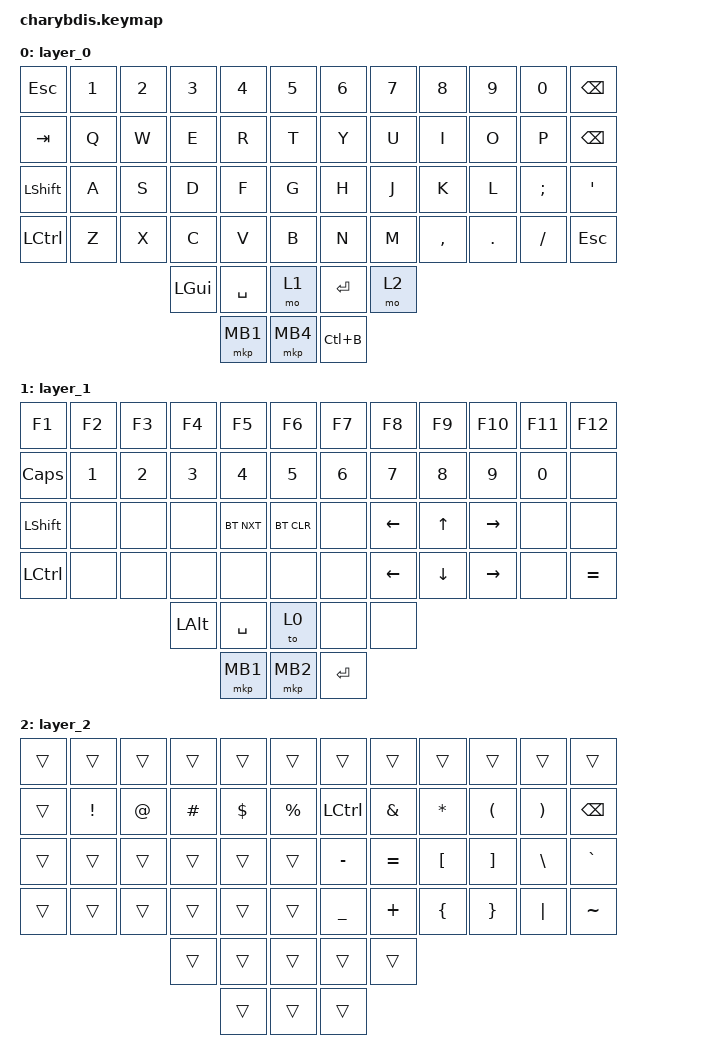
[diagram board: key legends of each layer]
#include <behaviors.dtsi>
#include <dt-bindings/zmk/bt.h>
#include <dt-bindings/zmk/keys.h>
#include <dt-bindings/zmk/pointing.h>

&lt {
    tapping-term-ms = <200>;
    flavor = "balanced";
    quick-tap-ms = <150>;
};

/ {
    keymap {
        compatible = "zmk,keymap";

        layer_0 {
            bindings = <
&kp ESC         &kp N1  &kp N2  &kp N3    &kp N4     &kp N5      &kp N6     &kp N7  &kp N8     &kp N9   &kp N0    &kp BACKSPACE
&kp TAB         &kp Q   &kp W   &kp E     &kp R      &kp T       &kp Y      &kp U   &kp I      &kp O    &kp P     &kp BSPC
&kp LEFT_SHIFT  &kp A   &kp S   &kp D     &kp F      &kp G       &kp H      &kp J   &kp K      &kp L    &kp SEMI  &kp SQT
&kp LCTRL       &kp Z   &kp X   &kp C     &kp V      &kp B       &kp N      &kp M   &kp COMMA  &kp DOT  &kp FSLH  &kp ESC
                                &kp LGUI  &kp SPACE  &mo 1       &kp ENTER  &mo 2
                                          &mkp MB1   &mkp MB4    &kp LC(B)
            >;
        };

        layer_1 {
            bindings = <
&kp F1          &kp F2        &kp F3        &kp F4        &kp F5        &kp F6        &kp F7        &kp F8    &kp F9        &kp F10    &kp F11  &kp F12
&kp CAPS        &kp NUMBER_1  &kp NUMBER_2  &kp NUMBER_3  &kp NUMBER_4  &kp N5        &kp NUMBER_6  &kp N7    &kp N8        &kp N9     &kp N0   &none
&kp LEFT_SHIFT  &none         &none         &none         &bt BT_NXT    &bt BT_CLR    &none         &kp LEFT  &kp UP_ARROW  &kp RIGHT  &none    &none
&kp LCTRL       &none         &none         &none         &none         &none         &none         &kp LEFT  &kp DOWN      &kp RIGHT  &none    &kp EQUAL
                                            &kp LEFT_ALT  &kp SPACE     &to 0         &none         &none
                                                          &mkp MB1      &mkp MB2      &kp ENTER
            >;
        };

        layer_2 {
            bindings = <
&trans  &trans           &trans       &trans    &trans      &trans         &trans          &trans         &trans            &trans                &trans                 &trans
&trans  &kp EXCLAMATION  &kp AT_SIGN  &kp HASH  &kp DOLLAR  &kp PERCENT    &kp LCTRL       &kp AMPERSAND  &kp ASTERISK      &kp LEFT_PARENTHESIS  &kp RIGHT_PARENTHESIS  &kp BACKSPACE
&trans  &trans           &trans       &trans    &trans      &trans         &kp MINUS       &kp EQUAL      &kp LEFT_BRACKET  &kp RIGHT_BRACKET     &kp BACKSLASH          &kp GRAVE
&trans  &trans           &trans       &trans    &trans      &trans         &kp UNDERSCORE  &kp PLUS       &kp LEFT_BRACE    &kp RIGHT_BRACE       &kp PIPE               &kp TILDE
                                      &trans    &trans      &trans         &trans          &trans
                                                &trans      &trans         &trans
            >;
        };

        /* layer_2 {
            bindings = <
&none  &none   &none    &none   &none         &none         &kp N1         &none         &none     &none  &none   &to 0
&none  &none   &none    &none   &none         &none         &none         &none          &rgb_ug RGB_BRD &rgb_ug RGB_BRI  &rgb_ug RGB_EFF   &rgb_ug RGB_TOG
&none  &none   &none    &none   &none         &none         &none         &mkp LCLK     &mkp RCLK  &none  &none   &none
&none  &none   &none    &none   &bt BT_NXT  &bt BT_CLR    &none         &none         &none     &none  &none   &none
                                   &none         &none         &none         &none         &none
                                                 &none         &none         &none
            >;
       
            
        };

       Mouse {
            bindings = <
&none        &none         &none         &none         &none      &none         &none       &none      &none         &none         &none         &none
&none        &bt BT_SEL 0  &bt BT_SEL 1  &bt BT_SEL 3  &none      &bt BT_CLR    &bt BT_CLR  &none      &bt BT_SEL 2  &bt BT_SEL 1  &bt BT_SEL 0  &none
&none        &trans        &trans        &mkp MCLK     &trans     &none         &none       &trans     &mkp MCLK     &trans        &trans        &none
&bootloader  &trans        &mkp RCLK     &mo 4         &mkp LCLK  &mo 5         &mo 5       &mkp LCLK  &mo 4         &mkp RCLK     &trans        &bootloader
                                         &mo 5         &mkp LCLK  &mkp RCLK     &mkp RCLK   &mkp LCLK
                                                       &none      &trans        &trans
            >;

            
        };

        layer_4 {
            bindings = <
&trans  &trans  &trans     &trans     &trans     &trans       &trans     &trans     &trans     &trans     &trans  &trans
&trans  &trans  &trans     &trans     &trans     &trans       &trans     &trans     &trans     &trans     &trans  &trans
&trans  &trans  &trans     &mkp MCLK  &trans     &trans       &trans     &trans     &mkp MCLK  &trans     &trans  &trans
&trans  &trans  &mkp RCLK  &trans     &mkp LCLK  &trans       &trans     &mkp LCLK  &trans     &mkp RCLK  &trans  &trans
                           &trans     &mkp LCLK  &mkp RCLK    &mkp RCLK  &mkp LCLK
                                      &trans     &trans       &trans
            >;
                
                
               
        };

        layer_5 {
            bindings = <
&trans  &trans  &trans     &trans     &trans     &trans       &trans     &trans     &trans     &trans     &trans  &trans
&trans  &trans  &trans     &trans     &trans     &trans       &trans     &trans     &trans     &trans     &trans  &trans
&trans  &trans  &trans     &mkp MCLK  &trans     &trans       &trans     &trans     &mkp MCLK  &trans     &trans  &trans
&trans  &trans  &mkp RCLK  &trans     &mkp LCLK  &trans       &trans     &mkp LCLK  &trans     &mkp RCLK  &trans  &trans
                           &trans     &mkp LCLK  &mkp RCLK    &mkp RCLK  &mkp LCLK
                                      &trans     &trans       &trans
            >;
                
                
        };*/
    };
};
